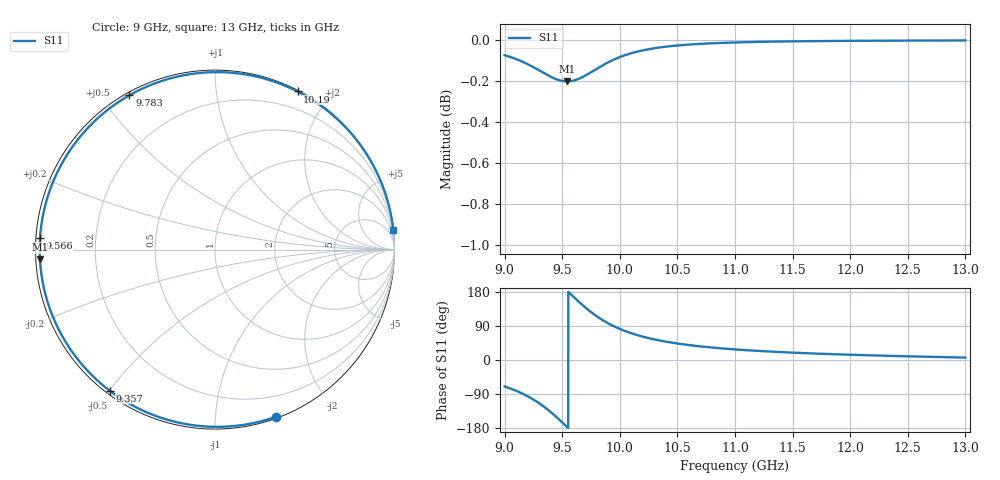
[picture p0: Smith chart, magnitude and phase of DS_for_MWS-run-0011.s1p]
! TOUCHSTONE file generated by CST DESIGN STUDIO
! Date and time: Tue Feb  4 15:47:27 2025
! Project name: C:\Work\MatlabApps\UnitCellOptimizationMatlab\CST\unitcell.cst
! Tree item: Tasks\Sweep1\SPara1\S-Parameters
! Header version: 2024
! Port assignment regex: !\s*Touchstone port\s*([0-9]+)\s*=\s*(CST MWS port|CST DES external port|CST DES block port)\s*(.+)\s* \(\"(.*)\"\)(\s*mode\s*([0-9]+))?.*
! Touchstone port assignment:
! Touchstone port 1 = CST DES external port 1 ("")
# GHz S MA R 50
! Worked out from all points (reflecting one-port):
!   4001 points, 9 GHz to 13 GHz, reference 50 ohm
!   lowest |S11| = -0.2 dB at 9.542 GHz (marker M1), VSWR 85.66, Z = 0.584 - j1.39 ohm
!   phase of S11 starts at -70 deg and turns -284 deg over the sweep
!   S11 on the Smith chart (normalised r, x): 9 GHz: 0.01, -1.43; 9.357 GHz: 0.01, -0.50; 9.566 GHz: 0.01, +0.03; 9.783 GHz: 0.01, +0.59; 10.19 GHz: 0.01, +1.65; 13 GHz: 0, +18
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9  0.9914 -69.9
9.102  0.9892 -81.4
9.212  0.986 -97.6
9.288  0.9834 -111.7
9.357  0.9809 -126.8
9.426  0.9787 -144.1
9.465  0.9778 -154.7
9.5  0.9772 -164.6
9.542  0.9769 -176.8
9.566  0.977 176.2
9.621  0.9778 160.3
9.682  0.9795 143.5
9.732  0.9813 130.8
9.783  0.9832 119.0
9.83  0.985 109.3
9.88  0.9868 100.0
9.936  0.9886 90.9
10  0.9903 82.0
10.091  0.9923 71.5
10.189  0.9939 62.4
10.331  0.9955 52.4
10.5  0.9968 43.5
10.721  0.9978 35.2
11  0.9985 27.9
11.5  0.9991 19.4
12  0.9994 13.8
12.5  0.9995 9.7
13  0.9996 6.4
